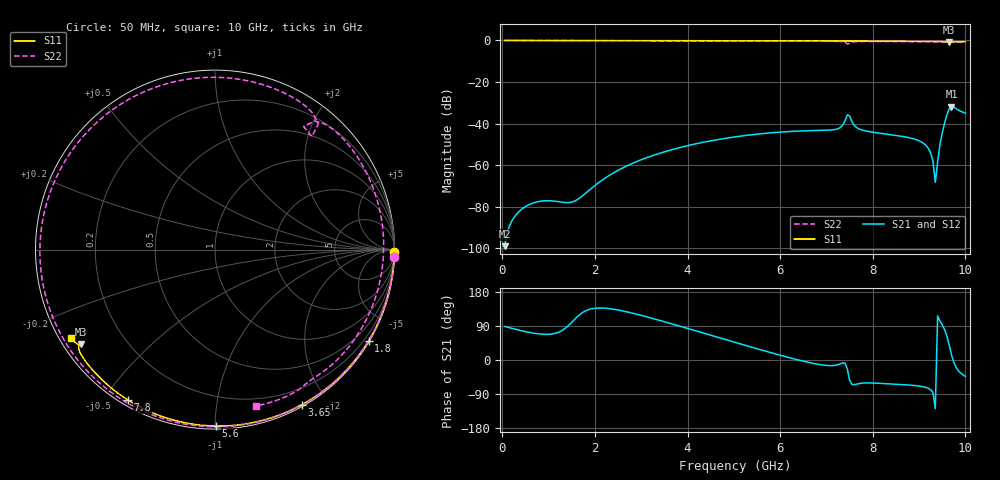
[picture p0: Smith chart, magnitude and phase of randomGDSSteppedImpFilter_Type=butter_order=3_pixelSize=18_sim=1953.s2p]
! freq	dB(S11)	phase(S11)	dB(S12)	phase(S12)
!  dB(S21)	phase(S21)	dB(S22)	phase(S22)
!S-par simulation data
#  GHz  S  DB  R 50
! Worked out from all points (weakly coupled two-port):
!   200 points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, 50 MHz to 10 GHz, reference 50 ohm
!   highest |S21| = -31.86 dB at 9.7 GHz (marker M1); lowest = -99.1 dB at 50 MHz (marker M2)
!   lowest |S11| = -0.8 dB at 9.65 GHz (marker M3), VSWR 22.40, Z = 2.45 - j15.8 ohm
!   |S11| at or under -10 dB: nowhere
!   |S22| runs from -1.6 to 0.0 dB; largest |S21 - S12| = 0
!   S11 on the Smith chart (normalised r, x): 50 MHz: open; 1.8 GHz: 0.03, -3.64; 3.65 GHz: 0.02, -1.71; 5.6 GHz: 0.02, -1.00; 7.8 GHz: 0.02, -0.58; 10 GHz: 0.03, -0.28
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0.05  -0.00 -0.9  -99.05 88.4  -99.05 88.4  -0.00 -2.4
0.95  -0.02 -16.3  -77.16 67.7  -77.16 67.7  -0.06 -44.7
1.45  -0.03 -24.8  -78.03 93.4  -78.03 93.4  -0.08 -67.1
1.75  -0.04 -29.9  -74.46 126.5  -74.46 126.5  -0.10 -80.0
1.8  -0.04 -30.7  -73.54 129.8  -73.54 129.8  -0.10 -82.1
2.5  -0.06 -42.3  -62.55 131.9  -62.55 131.9  -0.13 -110.7
3.4  -0.08 -56.7  -54.31 104.5  -54.31 104.5  -0.17 -145.1
3.65  -0.08 -60.6  -52.66 95.8  -52.66 95.8  -0.18 -154.4
5.05  -0.13 -81.8  -46.35 45.7  -46.35 45.7  -0.26 153.7
5.6  -0.15 -89.8  -44.89 26.3  -44.89 26.3  -0.29 132.4
6.7  -0.21 -105.2  -43.41 -8.6  -43.41 -8.6  -0.36 86.2
7.25  -0.24 -112.7  -42.50 -12.4  -42.50 -12.4  -0.45 60.1
7.45  -0.26 -115.4  -35.83 -23.7  -35.83 -23.7  -1.62 49.4
7.8  -0.28 -120.1  -43.34 -60.8  -43.34 -60.8  -0.49 37.7
8.35  -0.33 -127.4  -45.25 -63.0  -45.25 -63.0  -0.51 10.2
9.15  -0.41 -138.2  -50.58 -72.5  -50.58 -72.5  -0.67 -30.2
9.3  -0.44 -140.4  -58.16 -85.7  -58.16 -85.7  -0.72 -37.9
9.35  -0.45 -141.1  -68.31 -128.3  -68.31 -128.3  -0.74 -40.5
9.45  -0.49 -142.7  -50.21 102.5  -50.21 102.5  -0.79 -45.7
9.65  -0.78 -145.0  -32.92 39.3  -32.92 39.3  -0.89 -55.5
9.7  -0.77 -144.7  -31.86 13.6  -31.86 13.6  -0.85 -58.0
10  -0.55 -148.5  -34.92 -43.0  -34.92 -43.0  -0.90 -75.2
